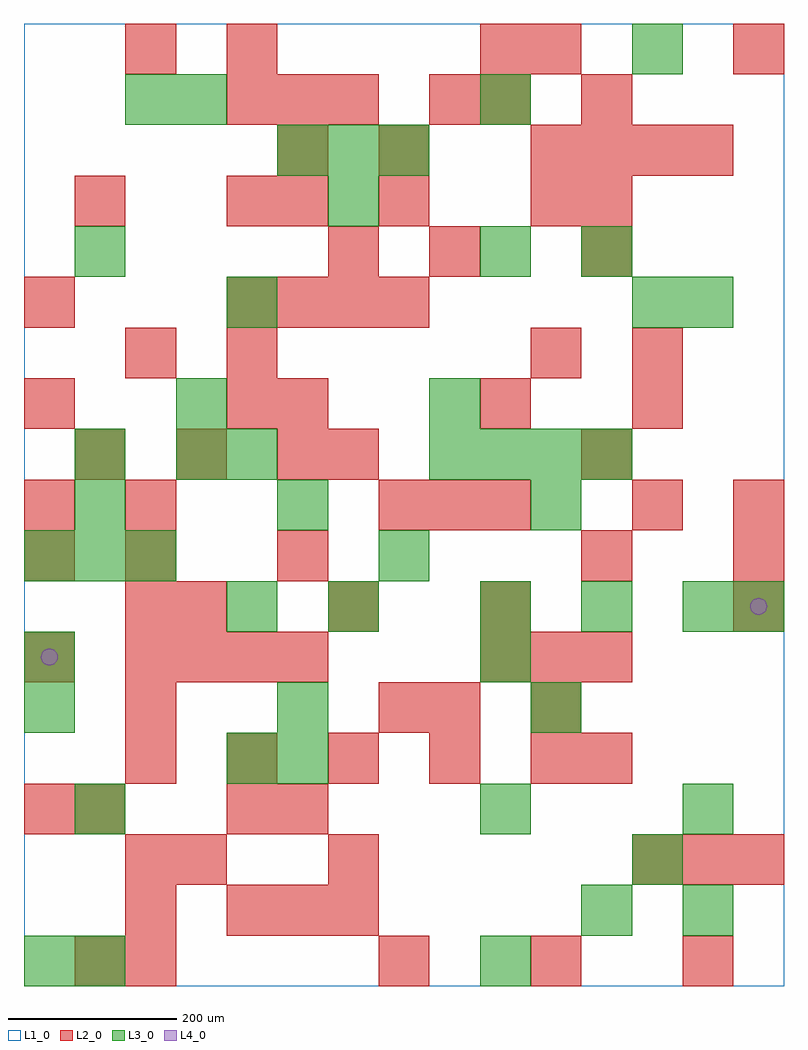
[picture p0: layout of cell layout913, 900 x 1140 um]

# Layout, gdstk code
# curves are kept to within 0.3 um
import gdstk
lib = gdstk.Library(unit=1e-6, precision=1e-09)
def R(c, l, rs):  # rectangles x0, y0, x1, y1
    for r in rs: c.add(gdstk.rectangle(r[:2], r[2:], *l))
def A(c, l, x, y, w, h, nx, ny, dx, dy):  # array of equal rectangles
    R(c, l, [(x+i*dx, y+j*dy, x+i*dx+w, y+j*dy+h) for i in range(nx) for j in range(ny)])
def P(c, l, *ps):  # polygons
    for p in ps: c.add(gdstk.Polygon(p, *l))
L1_0 = (1, 0)
L2_0 = (2, 0)
L3_0 = (3, 0)
L4_0 = (4, 0)

layout913 = lib.new_cell('layout913')
R(layout913, L1_0, [(0,0,900,1140)])
A(layout913, L2_0, 120, 0, 60, 60, 1, 3, 0, 60)
A(layout913, L2_0, 420, 0, 60, 60, 3, 1, 180, 0)
A(layout913, L2_0, 240, 60, 60, 60, 3, 2, 60, 960)
A(layout913, L2_0, 720, 120, 60, 60, 3, 1, 60, 0)
A(layout913, L2_0, 120, 240, 60, 60, 5, 1, 120, 0)
A(layout913, L2_0, 120, 360, 60, 60, 4, 1, 60, 0)
A(layout913, L2_0, 540, 360, 60, 60, 3, 1, 60, 0)
A(layout913, L2_0, 120, 420, 60, 60, 1, 3, 0, 60)
A(layout913, L2_0, 180, 420, 60, 60, 3, 1, 180, 0)
A(layout913, L2_0, 840, 420, 60, 60, 1, 3, 0, 60)
A(layout913, L2_0, 0, 540, 60, 60, 1, 3, 0, 120)
A(layout913, L2_0, 420, 540, 60, 60, 3, 1, 60, 0)
A(layout913, L2_0, 60, 600, 60, 60, 3, 1, 120, 0)
A(layout913, L2_0, 240, 720, 60, 60, 1, 3, 0, 180)
A(layout913, L2_0, 600, 720, 60, 60, 1, 3, 0, 180)
A(layout913, L2_0, 240, 780, 60, 60, 4, 1, 60, 0)
A(layout913, L2_0, 600, 960, 60, 60, 4, 1, 60, 0)
R(layout913, L2_0, [(60,0,120,60), (180,120,240,180), (360,120,420,180), (0,180,60,240), (60,180,120,240), (240,180,300,240), (300,180,360,240), (660,240,720,300), (120,300,180,360), (420,300,480,360), (480,300,540,360), (600,300,660,360), (0,360,60,420), (0,480,60,540), (300,480,360,540), (660,480,720,540), (720,540,780,600), (360,600,420,660), (660,600,720,660), (240,660,300,720), (300,660,360,720), (540,660,600,720), (720,660,780,720), (120,720,180,780), (720,720,780,780), (360,840,420,900), (480,840,540,900), (660,840,720,900), (60,900,120,960), (300,900,360,960), (420,900,480,960), (660,900,720,960), (300,960,360,1020), (420,960,480,1020), (480,1020,540,1080), (540,1020,600,1080), (660,1020,720,1080), (120,1080,180,1140), (540,1080,600,1140), (840,1080,900,1140)])
A(layout913, L3_0, 540, 0, 60, 60, 1, 3, 0, 180)
A(layout913, L3_0, 240, 240, 60, 60, 1, 4, 0, 180)
A(layout913, L3_0, 0, 300, 60, 60, 3, 1, 300, 0)
A(layout913, L3_0, 540, 420, 60, 60, 3, 1, 120, 0)
A(layout913, L3_0, 0, 480, 60, 60, 3, 1, 60, 0)
A(layout913, L3_0, 480, 600, 60, 60, 4, 1, 60, 0)
A(layout913, L3_0, 300, 960, 60, 60, 3, 1, 60, 0)
R(layout913, L3_0, [(0,0,60,60), (60,0,120,60), (660,60,720,120), (780,60,840,120), (720,120,780,180), (60,180,120,240), (780,180,840,240), (300,240,360,300), (0,360,60,420), (360,420,420,480), (840,420,900,480), (420,480,480,540), (60,540,120,600), (300,540,360,600), (600,540,660,600), (60,600,120,660), (180,600,240,660), (180,660,240,720), (480,660,540,720), (720,780,780,840), (780,780,840,840), (60,840,120,900), (540,840,600,900), (660,840,720,900), (360,900,420,960), (120,1020,180,1080), (180,1020,240,1080), (540,1020,600,1080), (720,1080,780,1140)])
P(layout913, L4_0, [(40,390),(39.239,393.827),(37.071,397.071),(33.827,399.239),(30,400),(26.173,399.239),(22.929,397.071),(20.761,393.827),(20,390),(20.761,386.173),(22.929,382.929),(26.173,380.761),(30,380),(33.827,380.761),(37.071,382.929),(39.239,386.173)],
  [(880,450),(879.239,453.827),(877.071,457.071),(873.827,459.239),(870,460),(866.173,459.239),(862.929,457.071),(860.761,453.827),(860,450),(860.761,446.173),(862.929,442.929),(866.173,440.761),(870,440),(873.827,440.761),(877.071,442.929),(879.239,446.173)])

lib.write_gds('layout913.gds')
